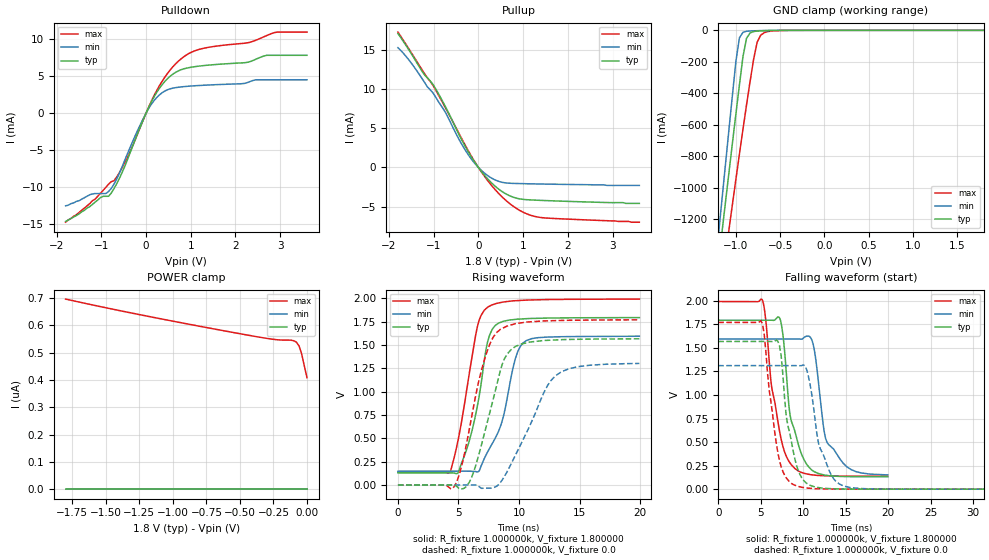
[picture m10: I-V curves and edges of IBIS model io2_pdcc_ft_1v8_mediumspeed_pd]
| [Disclaimer]  This information is for modeling purpose only and is
| not guaranted. The information is subject to change without
| notice.
| [Copyright] Copyright 2013 STMicroelectronics Inc.
| From stm32g0_456_ufqfn32_gp.ibs, stm32g0_456_ufqfn32_gp, STMicroelectronics
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|   Model io2_pdcc_ft_1v8_mediumspeed_pd
[Model]  io2_pdcc_ft_1v8_mediumspeed_pd
Model_type I/O
Polarity   Non-Inverting
Enable   Active-Low
Vinl =   0.540000V
Vinh =   1.260000V
Vmeas =  0.900000V
Cref =   50.000000pF
Rref =   100.000000M
Vref =   0.0V
C_comp   4.367000pF   3.639100pF   5.105000pF
[Temperature Range]   25.000000   -40.000000   0.125000k
[Pullup Reference]   1.800000V   1.600000V   2.000000V
[Pulldown Reference]   0.0V   0.0V   0.0V
[POWER Clamp Reference]   1.800000V   1.600000V   2.000000V
[GND Clamp Reference]   0.0V   0.0V   0.0V
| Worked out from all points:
|   slope of the pulldown table from 0 to 0.27 V, typ, clamps not added: 87.5 ohm
|   slope of the pullup table from 0 to 0.27 V, typ, clamps not added: 147 ohm
|   GND clamp passes 1 mA (typ) near -0.58 V on its own axis
|   rising waveform, R_fixture 1.000000k, V_fixture 1.800000: 20-80 % time 1.42ns typ, 1.84ns min, 1.43ns max; typ from 0.131 V to 1.79 V
|   rising waveform, R_fixture 1.000000k, V_fixture 0.0: 20-80 % time 1.87ns typ, 2.78ns min, 1.8ns max; typ from 0 V to 1.56 V
|   falling waveform, R_fixture 1.000000k, V_fixture 1.800000: 20-80 % time 1.65ns typ, 1.82ns min, 1.69ns max; typ from 1.79 V to 0.131 V
|   falling waveform, R_fixture 1.000000k, V_fixture 0.0: 20-80 % time 1.47ns typ, 1.85ns min, 1.45ns max; typ from 1.57 V to 0 V
[Pulldown]
|Voltage   I(typ)   I(min)   I(max)
-1.8V     -14.6mA    -12.5mA    -14.7mA
-1.14V    -12mA      -10.84mA   -11.6mA
-900mV    -11.21mA   -10.84mA   -10mA
-780mV    -10.79mA   -10.16mA   -9.24mA
-480mV    -7.221mA   -6.409mA   -6.723mA
60mV      806.3uA    646.5uA    843.8uA
300mV     3.356mA    2.463mA    3.703mA
600mV     5.259mA    3.369mA    6.249mA
1.2V      6.348mA    3.729mA    8.613mA
2.28V     6.865mA    4.147mA    9.489mA
2.94V     7.795mA    4.497mA    10.92mA
3.6V      7.795mA    4.497mA    10.92mA
[Pullup]
|Voltage   I(typ)   I(min)   I(max)
-1.8V     17.13mA    15.32mA    17.31mA
-1.56V    15.08mA    13.79mA    15.21mA
-1.26V    12.28mA    11.37mA    12.49mA
-960mV    10.1mA     9.035mA    9.948mA
-720mV    7.587mA    6.866mA    7.447mA
-360mV    3.374mA    2.844mA    3.539mA
-120mV    1.005mA    795.6uA    1.089mA
180mV     -1.289mA   -926.4uA   -1.468mA
480mV     -2.883mA   -1.823mA   -3.482mA
900mV     -3.994mA   -2.057mA   -5.412mA
1.32V     -4.191mA   -2.109mA   -6.335mA
3.6V      -4.6mA     -2.3mA     -7mA
[GND_clamp]
|Voltage   I(typ)   I(min)   I(max)
-1.8V     -4.43A     -4.747A    -4.297A
-1.2V     -1.489A    -1.316A    -1.768A
-1.16V    -1.295A    -1.089A    -1.601A
-1.12V    -1.102A    -863.2mA   -1.436A
-1.08V    -909.9mA   -638.7mA   -1.271A
-1V       -530.7mA   -197.2mA   -945.5mA
-960mV    -345.6mA   -47.18mA   -785.2mA
-920mV    -166.1mA   -12.67mA   -627.5mA
-880mV    -50.55mA   -5.887mA   -473.7mA
-760mV    -4.794mA   -2.408mA   -75.33mA
-680mV    -2.54mA    -1.109mA   -14.52mA
1.8V      47.27uA    33.85uA    59.61uA
[POWER_clamp]
|Voltage   I(typ)   I(min)   I(max)
-1.8V     0A         0A         696.8nA
-1.22V    0A         0A         637nA
-540mV    0A         0A         573.4nA
-260mV    0A         0A         549.8nA
-200mV    0A         0A         546.8nA
-120mV    0A         0A         546.1nA
-100mV    0A         0A         544.2nA
-80mV     0A         0A         539.2nA
-60mV     0A         0A         525.8nA
-40mV     0A         0A         495.9nA
-20mV     0A         0A         451.3nA
0V        0A         0A         408.6nA
[Ramp]
| variable   typ   min   max
dV/dt_r  1.06272/1.80798n   0.94032/2.17420n   1.18169/1.75921n
dV/dt_f  1.06877/1.79550n   0.94819/1.80884n   1.18725/1.89525n
R_load = 10.000000k
[Rising Waveform]
R_fixture= 1.000000k
V_fixture= 1.800000
V_fixture_min= 1.600000
V_fixture_max= 2.000000
|time   V(typ)   V(min)   V(max)
0s        130.7mV    148.2mV    137.7mV
4.324ns   130.6mV    148.2mV    145.9mV
4.965ns   132.6mV    148.2mV    478.7mV
5.886ns   470.1mV    148mV      1.187V
6.687ns   932.9mV    148.2mV    1.756V
7.407ns   1.534V     354.3mV    1.903V
8.569ns   1.746V     667.8mV    1.956V
9.69ns    1.773V     1.35V      1.973V
10.33ns   1.779V     1.52V      1.978V
19.94ns   1.792V     1.593V     1.991V
[Rising Waveform]
R_fixture= 1.000000k
V_fixture= 0.0
V_fixture_min= 0.0
V_fixture_max= 0.0
|time   V(typ)   V(min)   V(max)
0s        29.98nV    26.18nV    13.16uV
4.685ns   -2.045mV   -5.99uV    -7.293mV
5.285ns   -41.21mV   -17.7uV    216.2mV
6.086ns   82.25mV    529.9uV    728.8mV
7.367ns   665mV      -33.63mV   1.431V
8.448ns   1.219V     25.07mV    1.665V
9.73ns    1.485V     326.4mV    1.728V
12.09ns   1.547V     1V         1.757V
13.01ns   1.553V     1.169V     1.76V
19.94ns   1.565V     1.302V     1.768V
[Falling Waveform]
R_fixture= 1.000000k
V_fixture= 1.800000
V_fixture_min= 1.600000
V_fixture_max= 2.000000
|time   V(typ)   V(min)   V(max)
0s        1.795V     1.595V     1.993V
5.205ns   1.795V     1.595V     2.005V
6.246ns   1.794V     1.595V     1.115V
7.327ns   1.793V     1.595V     564.8mV
8.408ns   815mV      1.595V     284mV
8.969ns   629.3mV    1.595V     224.3mV
11.01ns   203.1mV    1.586V     152.2mV
12.81ns   146mV      495.9mV    141.6mV
15.62ns   132.7mV    209mV      138.7mV
19.94ns   131.3mV    151.5mV    138.2mV
[Falling Waveform]
R_fixture= 1.000000k
V_fixture= 0.0
V_fixture_min= 0.0
V_fixture_max= 0.0
|time   V(typ)   V(min)   V(max)
0s        1.569V     1.312V     1.772V
5.205ns   1.569V     1.312V     1.759V
7.007ns   1.573V     1.312V     392.9mV
7.407ns   1.415V     1.312V     237mV
8.008ns   771.8mV    1.312V     119.5mV
9.81ns    123.4mV    1.312V     20.44mV
10.61ns   51.37mV    1.199V     10.53mV
12.01ns   13.85mV    428.8mV    4.006mV
15.42ns   1.254mV    19.71mV    750.2uV
99.7ns    40.65uV    47.69uV    50.34uV
